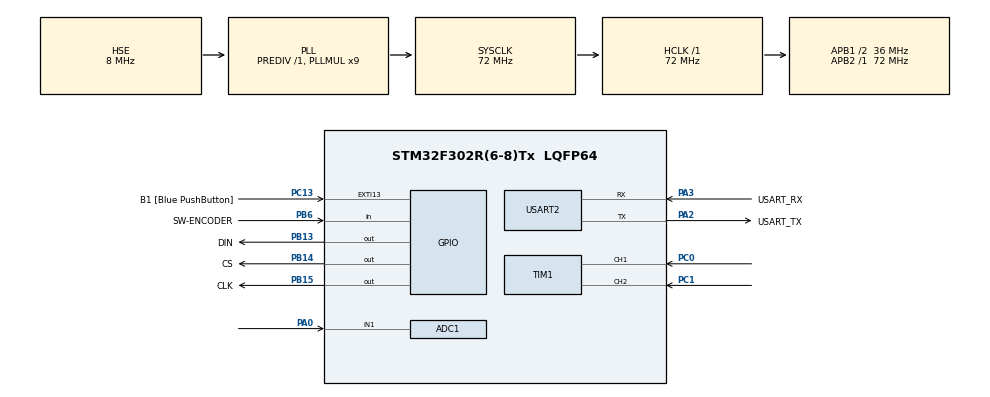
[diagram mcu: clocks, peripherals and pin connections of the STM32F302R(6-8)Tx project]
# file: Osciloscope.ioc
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ADC1.Channel-0\#ChannelRegularConversion=ADC_CHANNEL_1
ADC1.ContinuousConvMode=ENABLE
ADC1.DMAContinuousRequests=ENABLE
ADC1.NbrOfConversionFlag=1
ADC1.Offset-0\#ChannelRegularConversion=0
ADC1.OffsetNumber-0\#ChannelRegularConversion=ADC_OFFSET_NONE
ADC1.Rank-0\#ChannelRegularConversion=1
ADC1.SamplingTime-0\#ChannelRegularConversion=ADC_SAMPLETIME_601CYCLES_5
ADC1.SamplingTimeOPAMP-0\#ChannelRegularConversion=ADC_SAMPLETIME_61CYCLES_5
ADC1.SubFamily=STM32F302x8
ADC1.master=1
Dma.ADC1.0.Direction=DMA_PERIPH_TO_MEMORY
Dma.ADC1.0.Instance=DMA1_Channel1
Dma.ADC1.0.MemDataAlignment=DMA_MDATAALIGN_WORD
Dma.ADC1.0.MemInc=DMA_MINC_ENABLE
Dma.ADC1.0.Mode=DMA_CIRCULAR
Dma.ADC1.0.PeriphDataAlignment=DMA_PDATAALIGN_WORD
Dma.ADC1.0.PeriphInc=DMA_PINC_DISABLE
Dma.ADC1.0.Priority=DMA_PRIORITY_LOW
Dma.Request0=ADC1
Mcu.Family=STM32F3
Mcu.Name=STM32F302R(6-8)Tx
Mcu.Package=LQFP64
NVIC.DMA1_Channel1_IRQn=true\:0\:0\:false\:false\:true\:false\:true\:true
NVIC.PriorityGroup=NVIC_PRIORITYGROUP_0
PA0.Mode=IN1-Single-Ended
PA0.Signal=ADC1_IN1
PA13.GPIO_Label=TMS
PA13.Mode=Serial_Wire
PA13.Signal=SYS_JTMS-SWDIO
PA14.GPIO_Label=TCK
PA14.Mode=Serial_Wire
PA14.Signal=SYS_JTCK-SWCLK
PA2.GPIO_Label=USART_TX
PA2.GPIO_Mode=GPIO_MODE_AF_PP
PA2.GPIO_PuPd=GPIO_NOPULL
PA2.GPIO_Speed=GPIO_SPEED_FREQ_LOW
PA2.Mode=Asynchronous
PA2.Signal=USART2_TX
PA3.GPIO_Label=USART_RX
PA3.GPIO_Mode=GPIO_MODE_AF_PP
PA3.GPIO_PuPd=GPIO_NOPULL
PA3.GPIO_Speed=GPIO_SPEED_FREQ_LOW
PA3.Mode=Asynchronous
PA3.Signal=USART2_RX
PB13.GPIO_Label=DIN
PB13.Signal=GPIO_Output
PB14.GPIO_Label=CS
PB14.Signal=GPIO_Output
PB15.GPIO_Label=CLK
PB15.Signal=GPIO_Output
PB3.GPIO_Label=SWO
PB3.Mode=Trace_Asynchronous_SW
PB3.Signal=SYS_JTDO-TRACESWO
PB6.GPIO_Label=SW-ENCODER
PB6.GPIO_PuPd=GPIO_PULLUP
PB6.Signal=GPIO_Input
PC0.Signal=S_TIM1_CH1
PC1.Signal=S_TIM1_CH2
PC13.GPIO_Label=B1 [Blue PushButton]
PC13.GPIO_ModeDefaultEXTI=GPIO_MODE_IT_FALLING
PC13.Signal=GPXTI13
PC14\ -\ OSC32_IN.Signal=RCC_OSC32_IN
PC15\ -\ OSC32_OUT.Signal=RCC_OSC32_OUT
PF0-OSC_IN.Mode=HSE-External-Oscillator
PF0-OSC_IN.Signal=RCC_OSC_IN
PF1-OSC_OUT.Mode=HSE-External-Oscillator
PF1-OSC_OUT.Signal=RCC_OSC_OUT
ProjectManager.HeapSize=0x200
ProjectManager.StackSize=0x400
ProjectManager.TargetToolchain=STM32CubeIDE
RCC.AHBFreq_Value=72000000
RCC.APB1CLKDivider=RCC_HCLK_DIV2
RCC.APB1Freq_Value=36000000
RCC.APB1TimFreq_Value=72000000
RCC.APB2Freq_Value=72000000
RCC.APB2TimFreq_Value=72000000
RCC.CortexFreq_Value=72000000
RCC.HCLKFreq_Value=72000000
RCC.HSE_VALUE=8000000
RCC.HSI_VALUE=8000000
RCC.LSE_VALUE=32768
RCC.PLLM=8
RCC.PLLMUL=RCC_PLL_MUL9
RCC.PLLN=336
RCC.PLLP=RCC_PLLP_DIV4
RCC.PLLQ=7
RCC.PLLSourceVirtual=RCC_PLLSOURCE_HSE
RCC.SYSCLKFreq_VALUE=72000000
RCC.SYSCLKSourceVirtual=RCC_SYSCLKSOURCE_PLLCLK
RCC.USBFreq_Value=72000000
SH.S_TIM1_CH1.0=TIM1_CH1,Encoder_Interface
SH.S_TIM1_CH2.0=TIM1_CH2,Encoder_Interface
TIM1.AutoReloadPreload=TIM_AUTORELOAD_PRELOAD_ENABLE
TIM1.EncoderMode=TIM_ENCODERMODE_TI12
TIM1.IC1Filter=10
TIM1.IC2Filter=10
USART2.VirtualMode-Asynchronous=VM_ASYNC
board=NUCLEO-F302R8

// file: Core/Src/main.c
/* USER CODE BEGIN Header */
/**
 ******************************************************************************
 * @file           : main.c
 * @brief          : Main program body
 ******************************************************************************
 * @attention
 *
 * Copyright (c) 2023 STMicroelectronics.
 * All rights reserved.
 *
 * This software is licensed under terms that can be found in the LICENSE file
 * in the root directory of this software component.
 * If no LICENSE file comes with this software, it is provided AS-IS.
 *
 ******************************************************************************
 */
/* USER CODE END Header */
#include "main.h"
#include "adc.h"
#include "dma.h"
#include "tim.h"
#include "usart.h"
#include "gpio.h"

/* USER CODE BEGIN Includes */
#include "max_matrix_stm32.h"
/* USER CODE END Includes */

/* USER CODE BEGIN PV */
#define MATRIX_SIZE 8 // Tamaño de la matriz LED
#define ADC_MAX_VALUE 3682 // Valor máximo del ADC
#define VOLTAGE_MAX 2.7 // Voltaje máximo suministrado por el generador de funciones

// Matriz LED
uint8_t led_matrix[MATRIX_SIZE][MATRIX_SIZE];

// Valor actual de Volt/Div
double volt_div = 1.0; // Valor inicial de Volt/Div

// Función para mostrar la matriz LED
void display_led_matrix() {
    for (uint8_t row = 0; row < MATRIX_SIZE; row++) {
        for (uint8_t col = 0; col < MATRIX_SIZE; col++) {
            setled(col, row, led_matrix[row][col]);
        }
    }
}

// Función para actualizar la matriz LED con los valores de la forma de onda
void update_led_matrix(uint32_t adc_value) {
    // Mapear el valor del ADC al rango de la matriz LED
    uint32_t led_value = (adc_value * MATRIX_SIZE) / ADC_MAX_VALUE;

    // Actualizar la matriz LED con los valores de la forma de onda
    for (uint8_t row = 0; row < MATRIX_SIZE; row++) {
        for (uint8_t col = 0; col < MATRIX_SIZE; col++) {
            if (col < led_value && row == col) {
                led_matrix[row][col] = 1;
            } else {
                led_matrix[row][col] = 0;
            }
        }
    }
}

// Función para leer el valor del encoder
int read_encoder() {
    return (TIM2->CNT >> 2);
}
//uint32_t medida;

/* USER CODE END PV */

void SystemClock_Config(void);

int main(void) {

	/* MCU Configuration--------------------------------------------------------*/

	/* Reset of all peripherals, Initializes the Flash interface and the Systick. */
	HAL_Init();

	/* Configure the system clock */
	SystemClock_Config();

	/* Initialize all configured peripherals */
	MX_GPIO_Init();
	MX_DMA_Init();
	MX_USART2_UART_Init();
	MX_ADC1_Init();
	MX_TIM1_Init();
	/* USER CODE BEGIN 2 */
	//HAL_ADC_Start_DMA(&hadc1, &medida, 1); //max value = 3682
	max_init(0x03);
	/* USER CODE END 2 */
	write_char(3, 1);
	HAL_Delay(2000);
	/* Infinite loop */
	/* USER CODE BEGIN WHILE */
	max_clear();
	HAL_TIM_Encoder_Start(&htim2, TIM_CHANNEL_ALL);

	    // Configurar la matriz LED
	    // Asegúrate de tener la función setled correctamente implementada y configurada para tu hardware

	    while (1) {
	        // Leer el valor analógico del ADC
	        uint32_t adc_value = 0;
	        HAL_ADC_Start_DMA(&hadc1, &adc_value, 1);

	        // Actualizar el valor de Volt/Div según el encoder
	        int encoder_value = read_encoder();
	        volt_div = encoder_value * 0.1;

	        // Ajustar el voltaje máximo según el valor de Volt/Div
	        double voltage_max_adjusted = VOLTAGE_MAX / volt_div;

	        // Actualizar la matriz LED con los valores de la forma de onda
	        update_led_matrix((adc_value * voltage_max_adjusted) / ADC_MAX_VALUE);

	        // Mostrar la matriz LED
	        display_led_matrix();
	    }
	}
void SystemClock_Config(void) {
	RCC_OscInitTypeDef RCC_OscInitStruct = { 0 };
	RCC_ClkInitTypeDef RCC_ClkInitStruct = { 0 };
	RCC_PeriphCLKInitTypeDef PeriphClkInit = { 0 };

	/** Initializes the RCC Oscillators according to the specified parameters
	 * in the RCC_OscInitTypeDef structure.
	 */
	RCC_OscInitStruct.OscillatorType = RCC_OSCILLATORTYPE_HSE;
	RCC_OscInitStruct.HSEState = RCC_HSE_ON;
	RCC_OscInitStruct.HSEPredivValue = RCC_HSE_PREDIV_DIV1;
	RCC_OscInitStruct.HSIState = RCC_HSI_ON;
	RCC_OscInitStruct.PLL.PLLState = RCC_PLL_ON;
	RCC_OscInitStruct.PLL.PLLSource = RCC_PLLSOURCE_HSE;
	RCC_OscInitStruct.PLL.PLLMUL = RCC_PLL_MUL9;
	if (HAL_RCC_OscConfig(&RCC_OscInitStruct) != HAL_OK) {
		Error_Handler();
	}

	/** Initializes the CPU, AHB and APB buses clocks
	 */
	RCC_ClkInitStruct.ClockType = RCC_CLOCKTYPE_HCLK | RCC_CLOCKTYPE_SYSCLK
			| RCC_CLOCKTYPE_PCLK1 | RCC_CLOCKTYPE_PCLK2;
	RCC_ClkInitStruct.SYSCLKSource = RCC_SYSCLKSOURCE_PLLCLK;
	RCC_ClkInitStruct.AHBCLKDivider = RCC_SYSCLK_DIV1;
	RCC_ClkInitStruct.APB1CLKDivider = RCC_HCLK_DIV2;
	RCC_ClkInitStruct.APB2CLKDivider = RCC_HCLK_DIV1;

	if (HAL_RCC_ClockConfig(&RCC_ClkInitStruct, FLASH_LATENCY_2) != HAL_OK) {
		Error_Handler();
	}
	PeriphClkInit.PeriphClockSelection =
			RCC_PERIPHCLK_TIM1 | RCC_PERIPHCLK_ADC1;
	PeriphClkInit.Tim1ClockSelection = RCC_TIM1CLK_HCLK;
	PeriphClkInit.Adc1ClockSelection = RCC_ADC1PLLCLK_DIV1;

	if (HAL_RCCEx_PeriphCLKConfig(&PeriphClkInit) != HAL_OK) {
		Error_Handler();
	}
}

void Error_Handler(void) {
	__disable_irq();
	while (1) {
	}
}
